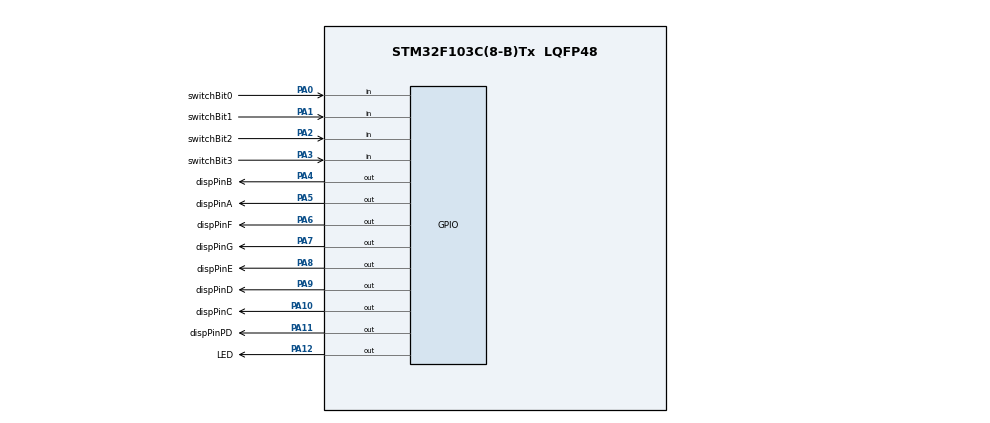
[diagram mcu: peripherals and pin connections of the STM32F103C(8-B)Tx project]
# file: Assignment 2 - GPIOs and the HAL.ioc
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Mcu.Family=STM32F1
Mcu.Name=STM32F103C(8-B)Tx
Mcu.Package=LQFP48
NVIC.PriorityGroup=NVIC_PRIORITYGROUP_4
PA0-WKUP.GPIO_Label=switchBit0
PA0-WKUP.Signal=GPIO_Input
PA1.GPIO_Label=switchBit1
PA1.Signal=GPIO_Input
PA10.GPIO_Label=dispPinC
PA10.Signal=GPIO_Output
PA11.GPIO_Label=dispPinPD
PA11.Signal=GPIO_Output
PA12.GPIO_Label=LED
PA12.Signal=GPIO_Output
PA13.Mode=Serial_Wire
PA13.Signal=SYS_JTMS-SWDIO
PA14.Mode=Serial_Wire
PA14.Signal=SYS_JTCK-SWCLK
PA2.GPIO_Label=switchBit2
PA2.Signal=GPIO_Input
PA3.GPIO_Label=switchBit3
PA3.Signal=GPIO_Input
PA4.GPIO_Label=dispPinB
PA4.Signal=GPIO_Output
PA5.GPIO_Label=dispPinA
PA5.Signal=GPIO_Output
PA6.GPIO_Label=dispPinF
PA6.Signal=GPIO_Output
PA7.GPIO_Label=dispPinG
PA7.Signal=GPIO_Output
PA8.GPIO_Label=dispPinE
PA8.Signal=GPIO_Output
PA9.GPIO_Label=dispPinD
PA9.Signal=GPIO_Output
ProjectManager.HeapSize=0x200
ProjectManager.StackSize=0x400
ProjectManager.TargetToolchain=STM32CubeIDE
RCC.APB1Freq_Value=8000000
RCC.APB2Freq_Value=8000000
board=custom

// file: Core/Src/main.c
/* USER CODE BEGIN Header */
/**
  ******************************************************************************
  * @file           : main.c
  * @brief          : Main program body
  ******************************************************************************
  * @attention
  *
  * Copyright (c) 2022 STMicroelectronics.
  * All rights reserved.
  *
  * This software is licensed under terms that can be found in the LICENSE file
  * in the root directory of this software component.
  * If no LICENSE file comes with this software, it is provided AS-IS.
  *
  ******************************************************************************
  */
/* USER CODE END Header */
#include "main.h"

void SystemClock_Config(void);
static void MX_GPIO_Init(void);

int main(void)
{
  /* USER CODE BEGIN 1 */
	unsigned char bit0 = 0, bit1 = 0, bit2 = 0, bit3 = 0;
	unsigned char count = 0;
  /* USER CODE END 1 */

  /* MCU Configuration--------------------------------------------------------*/

  /* Reset of all peripherals, Initializes the Flash interface and the Systick. */
  HAL_Init();

  /* Configure the system clock */
  SystemClock_Config();

  /* Initialize all configured peripherals */
  MX_GPIO_Init();

  /* Infinite loop */
  /* USER CODE BEGIN WHILE */
  while (1)
  {
	  //EJERCICIO 1
	  if (HAL_GPIO_ReadPin(GPIOA, switchBit0_Pin)){
		  bit0 = 1;
	  } else bit0 = 0;
	  if (HAL_GPIO_ReadPin(GPIOA, switchBit1_Pin)){
		  bit1 = 2;
	  } else bit1 = 0;
	  if (HAL_GPIO_ReadPin(GPIOA, switchBit2_Pin)){
		  bit2 = 4;
	  } else bit2 = 0;
	  if (HAL_GPIO_ReadPin(GPIOA, switchBit3_Pin)){
		  bit3 = 8;
	  } else bit3 = 0;

	  count = bit0 + bit1 + bit2 + bit3;
	  //EJERCICIO 2
/*
	  HAL_Delay(1000);
	  if (HAL_GPIO_ReadPin(GPIOA, switchBit0_Pin) && count < 9){
		  count++;
		  HAL_GPIO_WritePin(GPIOA, LED_Pin, GPIO_PIN_SET);
	  } else if (HAL_GPIO_ReadPin(GPIOA, switchBit0_Pin) && count == 9){
		  count = 0;
		  HAL_GPIO_WritePin(GPIOA, LED_Pin, GPIO_PIN_SET);
	  } else HAL_GPIO_WritePin(GPIOA, LED_Pin, GPIO_PIN_RESET);
*/
	  switch(count){
	  case(0): HAL_GPIO_WritePin(GPIOA, dispPinA_Pin, GPIO_PIN_RESET);
	  	  	   HAL_GPIO_WritePin(GPIOA, dispPinB_Pin, GPIO_PIN_RESET);
	  	  	   HAL_GPIO_WritePin(GPIOA, dispPinC_Pin, GPIO_PIN_RESET);
	  	  	   HAL_GPIO_WritePin(GPIOA, dispPinD_Pin, GPIO_PIN_RESET);
	  	  	   HAL_GPIO_WritePin(GPIOA, dispPinE_Pin, GPIO_PIN_RESET);
	  	  	   HAL_GPIO_WritePin(GPIOA, dispPinF_Pin, GPIO_PIN_RESET);
	  	  	   HAL_GPIO_WritePin(GPIOA, dispPinG_Pin, GPIO_PIN_SET);
	  	  	   HAL_GPIO_WritePin(GPIOA, dispPinPD_Pin, GPIO_PIN_SET);
	  	  	   //HAL_GPIO_WritePin(GPIOA, LED_Pin, GPIO_PIN_RESET);
	  	  	   break;
	  case(1): HAL_GPIO_WritePin(GPIOA, dispPinA_Pin, GPIO_PIN_SET);
	  	  	   HAL_GPIO_WritePin(GPIOA, dispPinB_Pin, GPIO_PIN_RESET);
	  	  	   HAL_GPIO_WritePin(GPIOA, dispPinC_Pin, GPIO_PIN_RESET);
	  	  	   HAL_GPIO_WritePin(GPIOA, dispPinD_Pin, GPIO_PIN_SET);
	  	  	   HAL_GPIO_WritePin(GPIOA, dispPinE_Pin, GPIO_PIN_SET);
	  	  	   HAL_GPIO_WritePin(GPIOA, dispPinF_Pin, GPIO_PIN_SET);
	  	  	   HAL_GPIO_WritePin(GPIOA, dispPinG_Pin, GPIO_PIN_SET);
	  	  	   HAL_GPIO_WritePin(GPIOA, dispPinPD_Pin, GPIO_PIN_SET);
	  	  	   //HAL_GPIO_WritePin(GPIOA, LED_Pin, GPIO_PIN_RESET);
	  	  	   break;
	  case(2): HAL_GPIO_WritePin(GPIOA, dispPinA_Pin, GPIO_PIN_RESET);
	  	  	   HAL_GPIO_WritePin(GPIOA, dispPinB_Pin, GPIO_PIN_RESET);
	  	  	   HAL_GPIO_WritePin(GPIOA, dispPinC_Pin, GPIO_PIN_SET);
	  	  	   HAL_GPIO_WritePin(GPIOA, dispPinD_Pin, GPIO_PIN_RESET);
	  	  	   HAL_GPIO_WritePin(GPIOA, dispPinE_Pin, GPIO_PIN_RESET);
	  	  	   HAL_GPIO_WritePin(GPIOA, dispPinF_Pin, GPIO_PIN_SET);
	  	  	   HAL_GPIO_WritePin(GPIOA, dispPinG_Pin, GPIO_PIN_RESET);
	  	  	   HAL_GPIO_WritePin(GPIOA, dispPinPD_Pin, GPIO_PIN_SET);
	  	  	   //HAL_GPIO_WritePin(GPIOA, LED_Pin, GPIO_PIN_SET);
	  	  	   break;
	  case(3): HAL_GPIO_WritePin(GPIOA, dispPinA_Pin, GPIO_PIN_RESET);
	  	  	   HAL_GPIO_WritePin(GPIOA, dispPinB_Pin, GPIO_PIN_RESET);
	  	  	   HAL_GPIO_WritePin(GPIOA, dispPinC_Pin, GPIO_PIN_RESET);
	  	  	   HAL_GPIO_WritePin(GPIOA, dispPinD_Pin, GPIO_PIN_RESET);
	  	  	   HAL_GPIO_WritePin(GPIOA, dispPinE_Pin, GPIO_PIN_SET);
	  	  	   HAL_GPIO_WritePin(GPIOA, dispPinF_Pin, GPIO_PIN_SET);
	  	  	   HAL_GPIO_WritePin(GPIOA, dispPinG_Pin, GPIO_PIN_RESET);
	  	  	   HAL_GPIO_WritePin(GPIOA, dispPinPD_Pin, GPIO_PIN_SET);
	  	  	   //HAL_GPIO_WritePin(GPIOA, LED_Pin, GPIO_PIN_SET);
	  	  	   break;
	  case(4): HAL_GPIO_WritePin(GPIOA, dispPinA_Pin, GPIO_PIN_SET);
	  	  	   HAL_GPIO_WritePin(GPIOA, dispPinB_Pin, GPIO_PIN_RESET);
	  	  	   HAL_GPIO_WritePin(GPIOA, dispPinC_Pin, GPIO_PIN_RESET);
	  	  	   HAL_GPIO_WritePin(GPIOA, dispPinD_Pin, GPIO_PIN_SET);
	  	  	   HAL_GPIO_WritePin(GPIOA, dispPinE_Pin, GPIO_PIN_SET);
	  	  	   HAL_GPIO_WritePin(GPIOA, dispPinF_Pin, GPIO_PIN_RESET);
	  	  	   HAL_GPIO_WritePin(GPIOA, dispPinG_Pin, GPIO_PIN_RESET);
	  	  	   HAL_GPIO_WritePin(GPIOA, dispPinPD_Pin, GPIO_PIN_SET);
	  	  	   //HAL_GPIO_WritePin(GPIOA, LED_Pin, GPIO_PIN_RESET);
	  	  	   break;
	  case(5): HAL_GPIO_WritePin(GPIOA, dispPinA_Pin, GPIO_PIN_RESET);
	  	  	   HAL_GPIO_WritePin(GPIOA, dispPinB_Pin, GPIO_PIN_SET);
	  	  	   HAL_GPIO_WritePin(GPIOA, dispPinC_Pin, GPIO_PIN_RESET);
	  	  	   HAL_GPIO_WritePin(GPIOA, dispPinD_Pin, GPIO_PIN_RESET);
	  	  	   HAL_GPIO_WritePin(GPIOA, dispPinE_Pin, GPIO_PIN_SET);
	  	  	   HAL_GPIO_WritePin(GPIOA, dispPinF_Pin, GPIO_PIN_RESET);
	  	  	   HAL_GPIO_WritePin(GPIOA, dispPinG_Pin, GPIO_PIN_RESET);
	  	  	   HAL_GPIO_WritePin(GPIOA, dispPinPD_Pin, GPIO_PIN_SET);
	  	  	   //HAL_GPIO_WritePin(GPIOA, LED_Pin, GPIO_PIN_SET);
	  	  	   break;
	  case(6): HAL_GPIO_WritePin(GPIOA, dispPinA_Pin, GPIO_PIN_RESET);
	  	  	   HAL_GPIO_WritePin(GPIOA, dispPinB_Pin, GPIO_PIN_SET);
	  	  	   HAL_GPIO_WritePin(GPIOA, dispPinC_Pin, GPIO_PIN_RESET);
	  	  	   HAL_GPIO_WritePin(GPIOA, dispPinD_Pin, GPIO_PIN_RESET);
	  	  	   HAL_GPIO_WritePin(GPIOA, dispPinE_Pin, GPIO_PIN_RESET);
	  	  	   HAL_GPIO_WritePin(GPIOA, dispPinF_Pin, GPIO_PIN_RESET);
	  	  	   HAL_GPIO_WritePin(GPIOA, dispPinG_Pin, GPIO_PIN_RESET);
	  	  	   HAL_GPIO_WritePin(GPIOA, dispPinPD_Pin, GPIO_PIN_SET);
	  	  	   //HAL_GPIO_WritePin(GPIOA, LED_Pin, GPIO_PIN_RESET);
	  	  	   break;
	  case(7): HAL_GPIO_WritePin(GPIOA, dispPinA_Pin, GPIO_PIN_RESET);
	  	  	   HAL_GPIO_WritePin(GPIOA, dispPinB_Pin, GPIO_PIN_RESET);
	  	  	   HAL_GPIO_WritePin(GPIOA, dispPinC_Pin, GPIO_PIN_RESET);
	  	  	   HAL_GPIO_WritePin(GPIOA, dispPinD_Pin, GPIO_PIN_SET);
	  	  	   HAL_GPIO_WritePin(GPIOA, dispPinE_Pin, GPIO_PIN_SET);
	  	  	   HAL_GPIO_WritePin(GPIOA, dispPinF_Pin, GPIO_PIN_SET);
	  	  	   HAL_GPIO_WritePin(GPIOA, dispPinG_Pin, GPIO_PIN_SET);
	  	  	   HAL_GPIO_WritePin(GPIOA, dispPinPD_Pin, GPIO_PIN_SET);
	  	  	   //HAL_GPIO_WritePin(GPIOA, LED_Pin, GPIO_PIN_SET);
	  	  	   break;
	  case(8): HAL_GPIO_WritePin(GPIOA, dispPinA_Pin, GPIO_PIN_RESET);
	  	  	   HAL_GPIO_WritePin(GPIOA, dispPinB_Pin, GPIO_PIN_RESET);
	  	  	   HAL_GPIO_WritePin(GPIOA, dispPinC_Pin, GPIO_PIN_RESET);
	  	  	   HAL_GPIO_WritePin(GPIOA, dispPinD_Pin, GPIO_PIN_RESET);
	  	  	   HAL_GPIO_WritePin(GPIOA, dispPinE_Pin, GPIO_PIN_RESET);
	  	  	   HAL_GPIO_WritePin(GPIOA, dispPinF_Pin, GPIO_PIN_RESET);
	  	  	   HAL_GPIO_WritePin(GPIOA, dispPinG_Pin, GPIO_PIN_RESET);
	  	  	   HAL_GPIO_WritePin(GPIOA, dispPinPD_Pin, GPIO_PIN_SET);
	  	  	   //HAL_GPIO_WritePin(GPIOA, LED_Pin, GPIO_PIN_RESET);
	  	  	   break;
	  case(9): HAL_GPIO_WritePin(GPIOA, dispPinA_Pin, GPIO_PIN_RESET);
	  	  	   HAL_GPIO_WritePin(GPIOA, dispPinB_Pin, GPIO_PIN_RESET);
	  	  	   HAL_GPIO_WritePin(GPIOA, dispPinC_Pin, GPIO_PIN_RESET);
	  	  	   HAL_GPIO_WritePin(GPIOA, dispPinD_Pin, GPIO_PIN_RESET);
	  	  	   HAL_GPIO_WritePin(GPIOA, dispPinE_Pin, GPIO_PIN_SET);
	  	  	   HAL_GPIO_WritePin(GPIOA, dispPinF_Pin, GPIO_PIN_RESET);
	  	  	   HAL_GPIO_WritePin(GPIOA, dispPinG_Pin, GPIO_PIN_RESET);
	  	  	   HAL_GPIO_WritePin(GPIOA, dispPinPD_Pin, GPIO_PIN_SET);
	  	  	   //HAL_GPIO_WritePin(GPIOA, LED_Pin, GPIO_PIN_RESET);
	  	  	   break;
	  case(10): HAL_GPIO_WritePin(GPIOA, dispPinA_Pin, GPIO_PIN_RESET);
			   HAL_GPIO_WritePin(GPIOA, dispPinB_Pin, GPIO_PIN_RESET);
			   HAL_GPIO_WritePin(GPIOA, dispPinC_Pin, GPIO_PIN_RESET);
			   HAL_GPIO_WritePin(GPIOA, dispPinD_Pin, GPIO_PIN_SET);
			   HAL_GPIO_WritePin(GPIOA, dispPinE_Pin, GPIO_PIN_RESET);
			   HAL_GPIO_WritePin(GPIOA, dispPinF_Pin, GPIO_PIN_RESET);
			   HAL_GPIO_WritePin(GPIOA, dispPinG_Pin, GPIO_PIN_RESET);
			   HAL_GPIO_WritePin(GPIOA, dispPinPD_Pin, GPIO_PIN_SET);
			   //HAL_GPIO_WritePin(GPIOA, LED_Pin, GPIO_PIN_RESET);
			   break;
	  case(11): HAL_GPIO_WritePin(GPIOA, dispPinA_Pin, GPIO_PIN_SET);
			   HAL_GPIO_WritePin(GPIOA, dispPinB_Pin, GPIO_PIN_SET);
			   HAL_GPIO_WritePin(GPIOA, dispPinC_Pin, GPIO_PIN_RESET);
			   HAL_GPIO_WritePin(GPIOA, dispPinD_Pin, GPIO_PIN_RESET);
			   HAL_GPIO_WritePin(GPIOA, dispPinE_Pin, GPIO_PIN_RESET);
			   HAL_GPIO_WritePin(GPIOA, dispPinF_Pin, GPIO_PIN_RESET);
			   HAL_GPIO_WritePin(GPIOA, dispPinG_Pin, GPIO_PIN_RESET);
			   HAL_GPIO_WritePin(GPIOA, dispPinPD_Pin, GPIO_PIN_SET);
			   //HAL_GPIO_WritePin(GPIOA, LED_Pin, GPIO_PIN_SET);
			   break;
	  case(12): HAL_GPIO_WritePin(GPIOA, dispPinA_Pin, GPIO_PIN_RESET);
			   HAL_GPIO_WritePin(GPIOA, dispPinB_Pin, GPIO_PIN_SET);
			   HAL_GPIO_WritePin(GPIOA, dispPinC_Pin, GPIO_PIN_SET);
			   HAL_GPIO_WritePin(GPIOA, dispPinD_Pin, GPIO_PIN_RESET);
			   HAL_GPIO_WritePin(GPIOA, dispPinE_Pin, GPIO_PIN_RESET);
			   HAL_GPIO_WritePin(GPIOA, dispPinF_Pin, GPIO_PIN_RESET);
			   HAL_GPIO_WritePin(GPIOA, dispPinG_Pin, GPIO_PIN_SET);
			   HAL_GPIO_WritePin(GPIOA, dispPinPD_Pin, GPIO_PIN_SET);
			   //HAL_GPIO_WritePin(GPIOA, LED_Pin, GPIO_PIN_RESET);
			   break;
	  case(13): HAL_GPIO_WritePin(GPIOA, dispPinA_Pin, GPIO_PIN_SET);
			   HAL_GPIO_WritePin(GPIOA, dispPinB_Pin, GPIO_PIN_RESET);
			   HAL_GPIO_WritePin(GPIOA, dispPinC_Pin, GPIO_PIN_RESET);
			   HAL_GPIO_WritePin(GPIOA, dispPinD_Pin, GPIO_PIN_RESET);
			   HAL_GPIO_WritePin(GPIOA, dispPinE_Pin, GPIO_PIN_RESET);
			   HAL_GPIO_WritePin(GPIOA, dispPinF_Pin, GPIO_PIN_SET);
			   HAL_GPIO_WritePin(GPIOA, dispPinG_Pin, GPIO_PIN_RESET);
			   HAL_GPIO_WritePin(GPIOA, dispPinPD_Pin, GPIO_PIN_SET);
			   //HAL_GPIO_WritePin(GPIOA, LED_Pin, GPIO_PIN_SET);
			   break;
	  case(14): HAL_GPIO_WritePin(GPIOA, dispPinA_Pin, GPIO_PIN_RESET);
			   HAL_GPIO_WritePin(GPIOA, dispPinB_Pin, GPIO_PIN_SET);
			   HAL_GPIO_WritePin(GPIOA, dispPinC_Pin, GPIO_PIN_SET);
			   HAL_GPIO_WritePin(GPIOA, dispPinD_Pin, GPIO_PIN_RESET);
			   HAL_GPIO_WritePin(GPIOA, dispPinE_Pin, GPIO_PIN_RESET);
			   HAL_GPIO_WritePin(GPIOA, dispPinF_Pin, GPIO_PIN_RESET);
			   HAL_GPIO_WritePin(GPIOA, dispPinG_Pin, GPIO_PIN_RESET);
			   HAL_GPIO_WritePin(GPIOA, dispPinPD_Pin, GPIO_PIN_SET);
			   //HAL_GPIO_WritePin(GPIOA, LED_Pin, GPIO_PIN_RESET);
			   break;
	  case(15): HAL_GPIO_WritePin(GPIOA, dispPinA_Pin, GPIO_PIN_RESET);
			   HAL_GPIO_WritePin(GPIOA, dispPinB_Pin, GPIO_PIN_SET);
			   HAL_GPIO_WritePin(GPIOA, dispPinC_Pin, GPIO_PIN_SET);
			   HAL_GPIO_WritePin(GPIOA, dispPinD_Pin, GPIO_PIN_SET);
			   HAL_GPIO_WritePin(GPIOA, dispPinE_Pin, GPIO_PIN_RESET);
			   HAL_GPIO_WritePin(GPIOA, dispPinF_Pin, GPIO_PIN_RESET);
			   HAL_GPIO_WritePin(GPIOA, dispPinG_Pin, GPIO_PIN_RESET);
			   HAL_GPIO_WritePin(GPIOA, dispPinPD_Pin, GPIO_PIN_SET);
			   //HAL_GPIO_WritePin(GPIOA, LED_Pin, GPIO_PIN_RESET);
			   break;
	  default: HAL_GPIO_WritePin(GPIOA, dispPinA_Pin, GPIO_PIN_SET);
			   HAL_GPIO_WritePin(GPIOA, dispPinB_Pin, GPIO_PIN_SET);
			   HAL_GPIO_WritePin(GPIOA, dispPinC_Pin, GPIO_PIN_SET);
			   HAL_GPIO_WritePin(GPIOA, dispPinD_Pin, GPIO_PIN_SET);
			   HAL_GPIO_WritePin(GPIOA, dispPinE_Pin, GPIO_PIN_SET);
			   HAL_GPIO_WritePin(GPIOA, dispPinF_Pin, GPIO_PIN_SET);
			   HAL_GPIO_WritePin(GPIOA, dispPinG_Pin, GPIO_PIN_SET);
			   HAL_GPIO_WritePin(GPIOA, dispPinPD_Pin, GPIO_PIN_SET);
			   HAL_GPIO_WritePin(GPIOA, LED_Pin, GPIO_PIN_RESET); break;
	  }
	  /* USER CODE END WHILE */

  }
}

void SystemClock_Config(void)
{
  RCC_OscInitTypeDef RCC_OscInitStruct = {0};
  RCC_ClkInitTypeDef RCC_ClkInitStruct = {0};

  /** Initializes the RCC Oscillators according to the specified parameters
  * in the RCC_OscInitTypeDef structure.
  */
  RCC_OscInitStruct.OscillatorType = RCC_OSCILLATORTYPE_HSI;
  RCC_OscInitStruct.HSIState = RCC_HSI_ON;
  RCC_OscInitStruct.HSICalibrationValue = RCC_HSICALIBRATION_DEFAULT;
  RCC_OscInitStruct.PLL.PLLState = RCC_PLL_NONE;
  if (HAL_RCC_OscConfig(&RCC_OscInitStruct) != HAL_OK)
  {
    Error_Handler();
  }

  /** Initializes the CPU, AHB and APB buses clocks
  */
  RCC_ClkInitStruct.ClockType = RCC_CLOCKTYPE_HCLK|RCC_CLOCKTYPE_SYSCLK
                              |RCC_CLOCKTYPE_PCLK1|RCC_CLOCKTYPE_PCLK2;
  RCC_ClkInitStruct.SYSCLKSource = RCC_SYSCLKSOURCE_HSI;
  RCC_ClkInitStruct.AHBCLKDivider = RCC_SYSCLK_DIV1;
  RCC_ClkInitStruct.APB1CLKDivider = RCC_HCLK_DIV1;
  RCC_ClkInitStruct.APB2CLKDivider = RCC_HCLK_DIV1;

  if (HAL_RCC_ClockConfig(&RCC_ClkInitStruct, FLASH_LATENCY_0) != HAL_OK)
  {
    Error_Handler();
  }
}

static void MX_GPIO_Init(void)
{
  GPIO_InitTypeDef GPIO_InitStruct = {0};

  /* GPIO Ports Clock Enable */
  __HAL_RCC_GPIOA_CLK_ENABLE();

  /*Configure GPIO pin Output Level */
  HAL_GPIO_WritePin(GPIOA, GPIO_PIN_4|GPIO_PIN_5|GPIO_PIN_6|GPIO_PIN_7
                          |GPIO_PIN_8|GPIO_PIN_9|GPIO_PIN_10|GPIO_PIN_11
                          , GPIO_PIN_SET);
  HAL_GPIO_WritePin(GPIOA, GPIO_PIN_12, GPIO_PIN_RESET);

  /*Configure GPIO pins : PA0 PA1 PA2 PA3 */
  GPIO_InitStruct.Pin = GPIO_PIN_0|GPIO_PIN_1|GPIO_PIN_2|GPIO_PIN_3;
  GPIO_InitStruct.Mode = GPIO_MODE_INPUT;
  GPIO_InitStruct.Pull = GPIO_NOPULL;
  HAL_GPIO_Init(GPIOA, &GPIO_InitStruct);

  /*Configure GPIO pins : PA4 PA5 PA6 PA7
                           PA8 PA9 PA10 PA11
                           PA12 */
  GPIO_InitStruct.Pin = GPIO_PIN_4|GPIO_PIN_5|GPIO_PIN_6|GPIO_PIN_7
                          |GPIO_PIN_8|GPIO_PIN_9|GPIO_PIN_10|GPIO_PIN_11
                          |GPIO_PIN_12;
  GPIO_InitStruct.Mode = GPIO_MODE_OUTPUT_PP;
  GPIO_InitStruct.Pull = GPIO_NOPULL;
  GPIO_InitStruct.Speed = GPIO_SPEED_FREQ_LOW;
  HAL_GPIO_Init(GPIOA, &GPIO_InitStruct);

}

void Error_Handler(void)
{
  __disable_irq();
  while (1)
  {
  }
}
